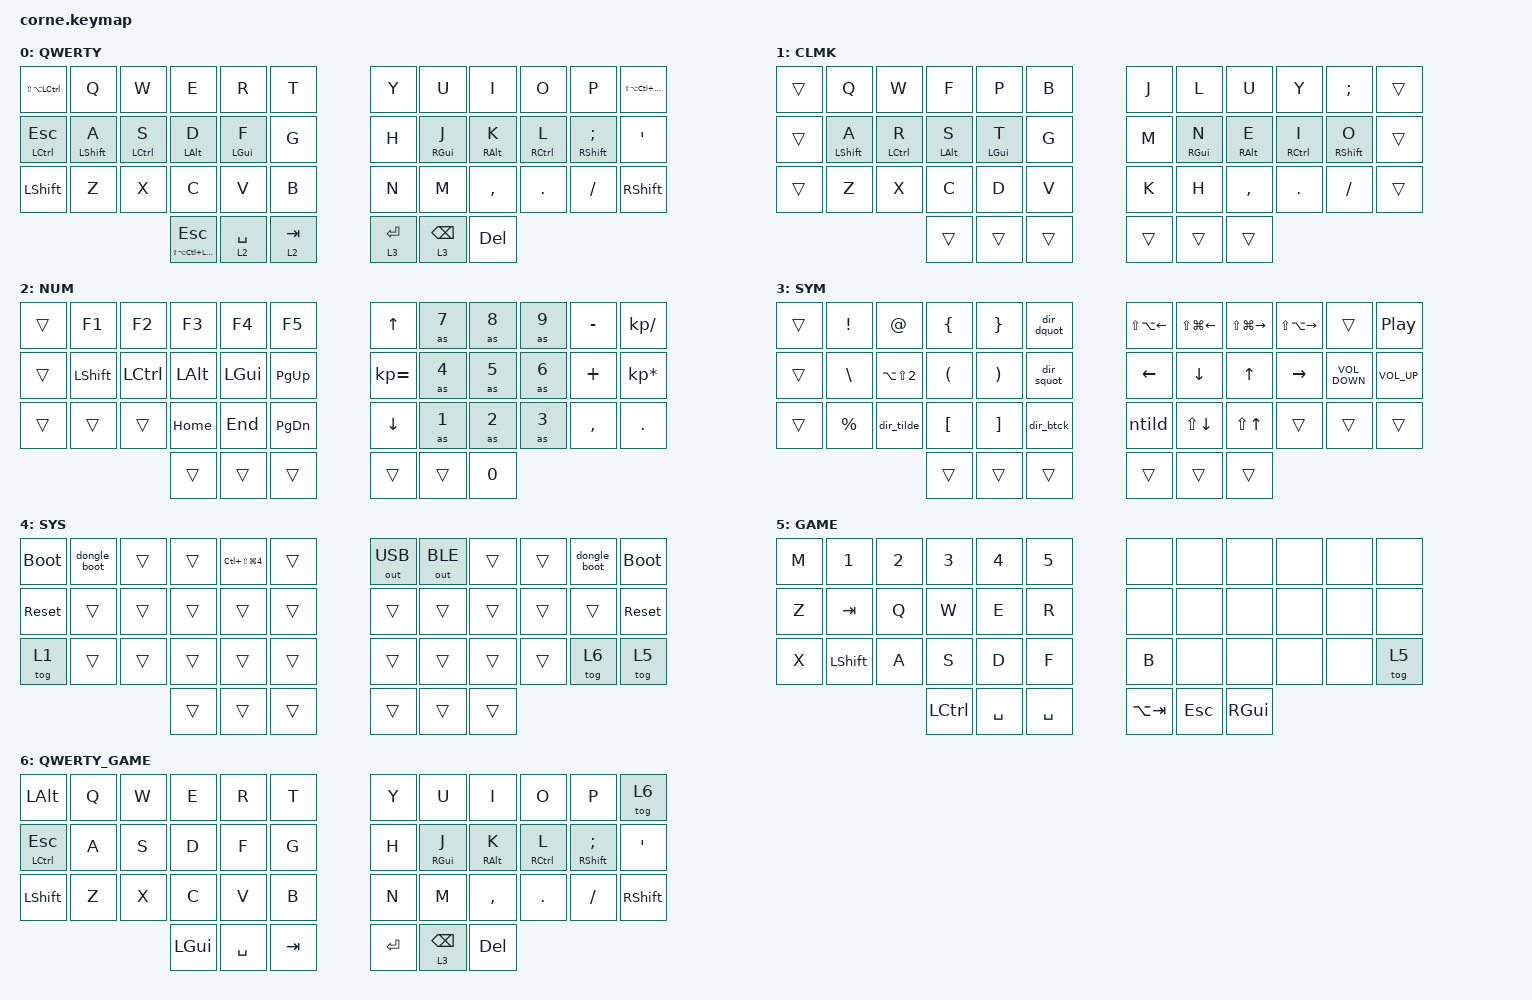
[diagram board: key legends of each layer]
/*
 * Copyright (c) 2020 The ZMK Contributors
 *
 * SPDX-License-Identifier: MIT
 */

#include <behaviors.dtsi>
#include <dt-bindings/zmk/keys.h>
#include <dt-bindings/zmk/outputs.h>

/ {
    combos {
        compatible = "zmk,combos";

        caps_word {
            bindings = <&caps_word>;
            key-positions = <24 35>;
        };

        copy {
            bindings = <&kp LG(C)>;
            key-positions = <27 26>;
        };

        paste {
            bindings = <&kp LG(V)>;
            key-positions = <28 27>;
        };

        cut {
            bindings = <&kp LG(X)>;
            key-positions = <25 26>;
        };

        num1 {
            bindings = <&kp N1>;
            key-positions = <1 13>;
            layers = <0 1 2>;
            require-prior-idle-ms = <50>;
        };

        num2 {
            bindings = <&kp N2>;
            key-positions = <2 14>;
            layers = <0 1 2>;
            require-prior-idle-ms = <50>;
        };

        num3 {
            bindings = <&kp N3>;
            key-positions = <3 15>;
            layers = <0 1 2>;
            require-prior-idle-ms = <50>;
        };

        num4 {
            bindings = <&kp N4>;
            key-positions = <4 16>;
            layers = <0 1 2>;
            require-prior-idle-ms = <50>;
        };

        num5 {
            bindings = <&kp N5>;
            key-positions = <5 17>;
            layers = <0 1 2>;
            require-prior-idle-ms = <50>;
        };

        num6 {
            bindings = <&kp N6>;
            key-positions = <6 18>;
            layers = <0 1 2>;
            require-prior-idle-ms = <50>;
        };

        num7 {
            bindings = <&kp N7>;
            key-positions = <7 19>;
            layers = <0 1 2>;
            require-prior-idle-ms = <50>;
        };

        num8 {
            bindings = <&kp N8>;
            key-positions = <8 20>;
            layers = <0 1 2>;
            require-prior-idle-ms = <50>;
        };

        num9 {
            bindings = <&kp N9>;
            key-positions = <9 21>;
            layers = <0 1 2>;
            require-prior-idle-ms = <50>;
        };

        num0 {
            bindings = <&kp N0>;
            key-positions = <10 22>;
            layers = <0 1 2>;
            require-prior-idle-ms = <50>;
        };

        arw_left {
            bindings = <&kp LEFT>;
            key-positions = <30 31>;
        };

        arw_dwn {
            bindings = <&kp DOWN>;
            key-positions = <31 32>;
        };

        arw_up {
            bindings = <&kp UP>;
            key-positions = <32 33>;
        };

        arw_rght {
            bindings = <&kp RIGHT>;
            key-positions = <33 34>;
        };
    };

    behaviors {
        as_ht: autoshift_hold_tap {
            compatible = "zmk,behavior-hold-tap";
            label = "AUTOSHIFT_HOLD_TAP";
            #binding-cells = <2>;
            tapping-term-ms = <200>;
            bindings = <&shifted>, <&kp>;
        };

        hmr: hmr {
            compatible = "zmk,behavior-hold-tap";
            label = "HMR";
            bindings = <&kp>, <&kp>;

            #binding-cells = <2>;
            tapping-term-ms = <280>;
            quick-tap-ms = <175>;
            flavor = "balanced";
            hold-trigger-key-positions = <0 1 2 3 4 5 12 13 14 15 16 17 24 25 26 27 28 29 36 37 38>;
            hold-trigger-on-release;
            require-prior-idle-ms = <150>;
        };

        hml: hml {
            compatible = "zmk,behavior-hold-tap";
            label = "HML";
            bindings = <&kp>, <&kp>;

            #binding-cells = <2>;
            tapping-term-ms = <280>;
            quick-tap-ms = <175>;
            require-prior-idle-ms = <150>;
            flavor = "balanced";
            hold-trigger-key-positions = <6 7 8 9 10 11 18 19 20 21 22 23 30 31 32 33 34 35 39 40 41>;
            hold-trigger-on-release;
        };

        ntild: ntild {
            compatible = "zmk,behavior-mod-morph";
            label = "NTILD";
            bindings = <&ntil>, <&ntild_cap>;

            #binding-cells = <0>;
            mods = <(MOD_LSFT)>;
        };
    };

    macros {
        shifted: macro_shifted_kp {
            #binding-cells = <1>;
            label = "MACRO_SHIFTED_KP";
            compatible = "zmk,behavior-macro-one-param";
            bindings =
                <&macro_press>,
                <&kp LSHFT &macro_param_1to1>,
                <&macro_tap>,
                <&kp MACRO_PLACEHOLDER>,
                <&macro_release>,
                <&kp LSHFT>;
        };

        as: autoshift {
            compatible = "zmk,behavior-macro-one-param";
            #binding-cells = <1>;
            label = "AUTOSHIFT_KP";
            bindings =
                <&macro_press>,
                <&macro_param_1to1 &macro_param_1to2 &as_ht MACRO_PLACEHOLDER MACRO_PLACEHOLDER>,
                <&macro_pause_for_release>,
                <&macro_release>,
                <&macro_param_1to1 &macro_param_1to2 &as_ht MACRO_PLACEHOLDER MACRO_PLACEHOLDER>;
        };

        ntil: uc_ntil {
            compatible = "zmk,behavior-macro";
            #binding-cells = <0>;
            bindings = <&macro_tap>, <&kp LS(GRAVE)>, <&macro_tap>, <&kp N>;

            label = "UC_NTIL";
            wait-ms = <0>;
        };

        ntild_cap: uc_ntild_cap {
            compatible = "zmk,behavior-macro";
            #binding-cells = <0>;
            bindings =
                <&macro_press>,
                <&kp LEFT_SHIFT>,
                <&macro_tap>,
                <&kp LS(GRAVE)>,
                <&macro_tap>,
                <&kp N>,
                <&macro_release>,
                <&kp LEFT_SHIFT>;

            label = "UC_NTILD_CAP";
        };

        dir_dquot: dir_dquot {
            compatible = "zmk,behavior-macro";
            #binding-cells = <0>;
            bindings = <&kp DQT &kp SPACE>;
            label = "DIR_DQUOT";
        };

        dir_squot: dir_squot {
            compatible = "zmk,behavior-macro";
            #binding-cells = <0>;
            bindings = <&kp SQT &kp SPACE>;
            label = "DIR_SQUOT";
        };

        dir_btck: dir_btck {
            compatible = "zmk,behavior-macro";
            #binding-cells = <0>;
            bindings = <&kp GRAVE &kp SPACE>;
            label = "DIR_BTCK";
        };

        dongle_boot: dongle_boot {
            compatible = "zmk,behavior-macro";
            #binding-cells = <0>;
            bindings = <&bootloader>;
            label = "DONGLE_BOOT";
        };

        dir_tilde: dir_tilde {
            compatible = "zmk,behavior-macro";
            #binding-cells = <0>;
            bindings = <&kp TILDE &kp SPACE>;
            label = "DIR_TILDE";
        };
    };

    keymap {
        compatible = "zmk,keymap";

        qwerty_layer {
            // -----------------------------------------------------------------------------------------
            // |  TAB |  Q  |  W  |  E  |  R  |  T  |   |  Y  |  U   |  I  |  O  |  P  | BKSP |
            // | CTRL |  A  |  S  |  D  |  F  |  G  |   |  H  |  J   |  K  |  L  |  ;  |  '   |
            // | SHFT |  Z  |  X  |  C  |  V  |  B  |   |  N  |  M   |  ,  |  .  |  /  | ESC  |
            //                    | GUI | LWR | SPC |   | ENT | RSE  | ALT |

            bindings = <
&kp LS(LA(LCTRL))  &kp Q              &kp W         &kp E                            &kp R            &kp T        &kp Y        &kp U             &kp I             &kp O         &kp P                       &kp LS(LA(LC(LG(M))))
&mt LCTRL ESCAPE   &hml LEFT_SHIFT A  &hml LCTRL S  &hml LEFT_ALT D                  &hml LEFT_GUI F  &kp G        &kp H        &hmr RIGHT_GUI J  &hmr RIGHT_ALT K  &hmr RCTRL L  &hmr RIGHT_SHIFT SEMICOLON  &kp SINGLE_QUOTE
&kp LSHFT          &kp Z              &kp X         &kp C                            &kp V            &kp B        &kp N        &kp M             &kp COMMA         &kp DOT       &kp FSLH                    &kp RIGHT_SHIFT
                                                    &mt LS(LA(LC(LEFT_GUI))) ESCAPE  &lt 2 SPACE      &lt 2 TAB    &lt 3 ENTER  &lt 3 BACKSPACE   &kp DEL
            >;

            label = "QWERTY";
        };

        colemak_layer {
            bindings = <
&trans  &kp Q              &kp W         &kp F            &kp P            &kp B     &kp J   &kp L             &kp U             &kp Y         &kp SEMI            &trans
&trans  &hml LEFT_SHIFT A  &hml LCTRL R  &hml LEFT_ALT S  &hml LEFT_GUI T  &kp G     &kp M   &hmr RIGHT_GUI N  &hmr RIGHT_ALT E  &hmr RCTRL I  &hmr RIGHT_SHIFT O  &trans
&trans  &kp Z              &kp X         &kp C            &kp D            &kp V     &kp K   &kp H             &kp COMMA         &kp DOT       &kp FSLH            &trans
                                         &trans           &trans           &trans    &trans  &trans            &trans
            >;

            label = "CLMK";
        };

        num_layer {
            // -----------------------------------------------------------------------------------------
            // |  TAB |  1  |  2  |  3  |  4  |  5  |   |  6  |  7  |  8  |  9  |  0  | BKSP |
            // | BTCLR| BT1 | BT2 | BT3 | BT4 | BT5 |   | LFT | DWN |  UP | RGT |     |      |
            // | SHFT |     |     |     |     |     |   |     |     |     |     |     |      |
            //                    | GUI |     | SPC |   | ENT |     | ALT |

            bindings = <
&trans  &kp F1          &kp F2     &kp F3        &kp F4        &kp F5           &kp UP_ARROW  &as N7  &as N8  &as N9  &kp MINUS  &kp KP_DIVIDE
&trans  &kp LEFT_SHIFT  &kp LCTRL  &kp LEFT_ALT  &kp LEFT_GUI  &kp PAGE_UP      &kp KP_EQUAL  &as N4  &as N5  &as N6  &kp PLUS   &kp KP_ASTERISK
&trans  &trans          &trans     &kp HOME      &kp END       &kp PAGE_DOWN    &kp DOWN      &as N1  &as N2  &as N3  &kp COMMA  &kp DOT
                                   &trans        &trans        &trans           &trans        &trans  &kp N0
            >;

            label = "NUM";
        };

        symbols_layers {
            bindings = <
&trans  &kp EXCLAMATION  &kp AT                &kp LEFT_BRACE        &kp RIGHT_BRACE        &dir_dquot    &kp LS(LA(LEFT))  &kp LS(LG(LEFT_ARROW))  &kp LS(LG(RIGHT))  &kp LS(LA(RIGHT))  &trans             &kp C_PLAY_PAUSE
&trans  &kp BACKSLASH    &kp LA(LS(NUMBER_2))  &kp LEFT_PARENTHESIS  &kp RIGHT_PARENTHESIS  &dir_squot    &kp LEFT          &kp DOWN                &kp UP             &kp RIGHT          &kp C_VOLUME_DOWN  &kp C_VOLUME_UP
&trans  &kp PERCENT      &dir_tilde            &kp LBKT              &kp RBKT               &dir_btck     &ntild            &kp LS(DOWN)            &kp LS(UP)         &trans             &trans             &trans
                                               &trans                &trans                 &trans        &trans            &trans                  &trans
            >;

            label = "SYM";
        };

        system_layer {
            bindings = <
&bootloader  &dongle_boot  &trans  &trans  &kp LC(LS(LG(N4)))  &trans    &out OUT_USB  &out OUT_BLE  &trans  &trans  &dongle_boot  &bootloader
&sys_reset   &trans        &trans  &trans  &trans              &trans    &trans        &trans        &trans  &trans  &trans        &sys_reset
&tog 1       &trans        &trans  &trans  &trans              &trans    &trans        &trans        &trans  &trans  &tog 6        &tog 5
                                   &trans  &trans              &trans    &trans        &trans        &trans
            >;

            label = "SYS";
        };

        GAMING_LAYER {
            bindings = <
&kp M  &kp NUMBER_1  &kp NUMBER_2  &kp NUMBER_3  &kp N4     &kp N5       &none        &none    &none          &none  &none  &none
&kp Z  &kp TAB       &kp Q         &kp W         &kp E      &kp R        &none        &none    &none          &none  &none  &none
&kp X  &kp LSHIFT    &kp A         &kp S         &kp D      &kp F        &kp B        &none    &none          &none  &none  &tog 5
                                   &kp LCTRL     &kp SPACE  &kp SPACE    &kp LA(TAB)  &kp ESC  &kp RIGHT_GUI
            >;

            label = "GAME";
        };

        GAME_QW {
            label = "QWERTY_GAME";
            bindings = <
&kp LEFT_ALT      &kp Q  &kp W  &kp E         &kp R      &kp T      &kp Y      &kp U             &kp I             &kp O         &kp P                       &tog 6
&mt LCTRL ESCAPE  &kp A  &kp S  &kp D         &kp F      &kp G      &kp H      &hmr RIGHT_GUI J  &hmr RIGHT_ALT K  &hmr RCTRL L  &hmr RIGHT_SHIFT SEMICOLON  &kp SINGLE_QUOTE
&kp LSHFT         &kp Z  &kp X  &kp C         &kp V      &kp B      &kp N      &kp M             &kp COMMA         &kp DOT       &kp FSLH                    &kp RIGHT_SHIFT
                                &kp LEFT_GUI  &kp SPACE  &kp TAB    &kp ENTER  &lt 3 BACKSPACE   &kp DEL
            >;
        };
    };

    conditional_layers {
        compatible = "zmk,conditional-layers";

        SYS {
            if-layers = <2 3>;
            then-layer = <4>;
        };

        SYS_REV {
            if-layers = <3 2>;
            then-layer = <4>;
        };
    };
};
